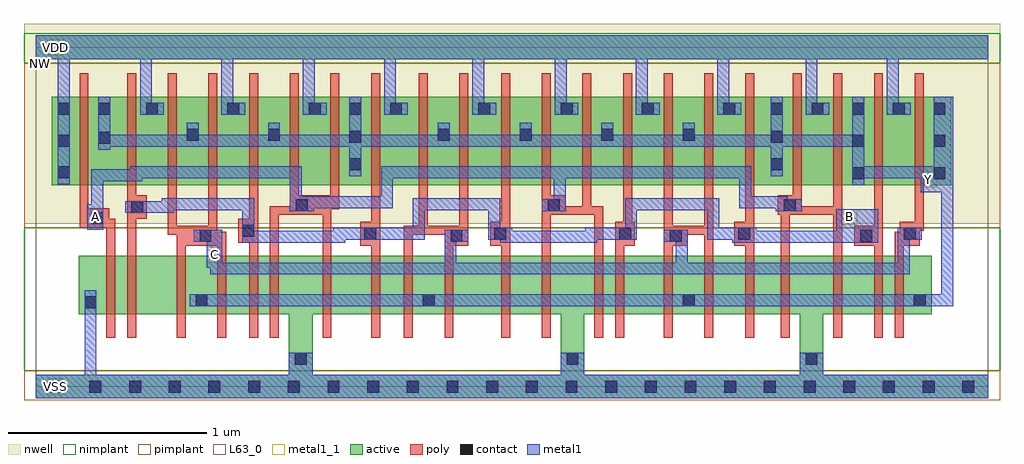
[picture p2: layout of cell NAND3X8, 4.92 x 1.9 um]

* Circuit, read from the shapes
.subckt NAND3X8 A B C NW VDD VSS Y
M1 n1 A VSS VSS nfet w=0.295u l=0.045u
M2 n2 B n1 VSS nfet w=0.295u l=0.045u
M3 Y C n2 VSS nfet w=0.295u l=0.045u
M4 n3 C Y VSS nfet w=0.295u l=0.045u
M5 n4 B n3 VSS nfet w=0.295u l=0.045u
M6 VSS A n4 VSS nfet w=0.295u l=0.045u
M7 n5 A VSS VSS nfet w=0.295u l=0.045u
M8 n6 B n5 VSS nfet w=0.295u l=0.045u
M9 Y C n6 VSS nfet w=0.295u l=0.045u
M10 n7 C Y VSS nfet w=0.295u l=0.045u
M11 n8 B n7 VSS nfet w=0.295u l=0.045u
M12 VSS A n8 VSS nfet w=0.295u l=0.045u
M13 n9 A VSS VSS nfet w=0.295u l=0.045u
M14 n10 B n9 VSS nfet w=0.295u l=0.045u
M15 Y C n10 VSS nfet w=0.295u l=0.045u
M16 n11 C Y VSS nfet w=0.295u l=0.045u
M17 n12 B n11 VSS nfet w=0.295u l=0.045u
M18 VSS A n12 VSS nfet w=0.295u l=0.045u
M19 n13 A VSS VSS nfet w=0.295u l=0.045u
M20 n14 B n13 VSS nfet w=0.295u l=0.045u
M21 Y C n14 VSS nfet w=0.295u l=0.045u
M22 Y A VDD NW pfet w=0.445u l=0.045u m=7
M23 VDD B Y NW pfet w=0.445u l=0.045u m=7
M24 Y C VDD NW pfet w=0.445u l=0.045u m=7
.ends

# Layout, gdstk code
import gdstk
lib = gdstk.Library(unit=1e-6, precision=5e-10)
def R(c, l, rs):  # rectangles x0, y0, x1, y1
    for r in rs: c.add(gdstk.rectangle(r[:2], r[2:], *l))
def A(c, l, x, y, w, h, nx, ny, dx, dy):  # array of equal rectangles
    R(c, l, [(x+i*dx, y+j*dy, x+i*dx+w, y+j*dy+h) for i in range(nx) for j in range(ny)])
def P(c, l, *ps):  # polygons
    for p in ps: c.add(gdstk.Polygon(p, *l))
active = (1, 0)
nwell = (2, 0)
poly = (3, 0)
nimplant = (4, 0)
pimplant = (5, 0)
contact = (6, 0)
metal1 = (7, 0)
metal1_1 = (7, 1)
L63_0 = (63, 0)

nand3x8 = lib.new_cell('NAND3X8')
R(nand3x8, active, [(0,-0.06,4.8,0.06), (0.08,1.015,4.615,1.46), (0,1.65,4.8,1.77)])
P(nand3x8, active, [(4.515,0.66),(0.215,0.66),(0.215,0.365),(1.275,0.365),(1.275,0.06),(1.395,0.06),(1.395,0.365),(2.645,0.365),(2.645,0.06),(2.765,0.06),(2.765,0.365),(3.85,0.365),(3.85,0.06),(3.97,0.06),(3.97,0.365),(4.515,0.365)])
R(nand3x8, nwell, [(-0.06,0.82,4.86,1.83), (0,1.61,0.05,1.71)])
P(nand3x8, poly, [(0.22,1.58),(0.265,1.58),(0.265,0.9),(0.37,0.9),(0.37,0.845),(0.4,0.845),(0.4,0.245),(0.355,0.245),(0.355,0.8),(0.22,0.8)],
  [(0.46,1.58),(0.505,1.58),(0.505,0.965),(0.56,0.965),(0.56,0.845),(0.505,0.845),(0.505,0.245),(0.46,0.245)],
  [(0.665,1.58),(0.71,1.58),(0.71,0.81),(0.87,0.81),(0.87,1.58),(0.915,1.58),(0.915,0.78),(0.96,0.78),(0.96,0.245),(0.915,0.245),(0.915,0.71),(0.755,0.71),(0.755,0.245),(0.71,0.245),(0.71,0.765),(0.665,0.765)],
  [(1.075,1.58),(1.12,1.58),(1.12,0.245),(1.075,0.245),(1.075,0.725),(1.02,0.725),(1.02,0.845),(1.075,0.845)],
  [(1.28,1.58),(1.325,1.58),(1.325,0.965),(1.485,0.965),(1.485,1.58),(1.53,1.58),(1.53,0.895),(1.49,0.895),(1.49,0.245),(1.445,0.245),(1.445,0.865),(1.225,0.865),(1.225,0.245),(1.18,0.245),(1.18,0.91),(1.28,0.91)],
  [(1.69,1.58),(1.735,1.58),(1.735,0.245),(1.69,0.245),(1.69,0.71),(1.635,0.71),(1.635,0.83),(1.69,0.83)],
  [(1.93,1.58),(1.975,1.58),(1.975,0.81),(2.135,0.81),(2.135,1.58),(2.18,1.58),(2.18,0.71),(2.105,0.71),(2.105,0.245),(2.06,0.245),(2.06,0.765),(1.9,0.765),(1.9,0.245),(1.855,0.245),(1.855,0.81),(1.93,0.81)],
  [(2.345,1.58),(2.39,1.58),(2.39,0.245),(2.345,0.245),(2.345,0.71),(2.29,0.71),(2.29,0.83),(2.345,0.83)],
  [(2.55,1.58),(2.595,1.58),(2.595,0.965),(2.67,0.965),(2.67,0.91),(2.755,0.91),(2.755,1.58),(2.8,1.58),(2.8,0.91),(2.86,0.91),(2.86,0.245),(2.815,0.245),(2.815,0.865),(2.595,0.865),(2.595,0.245),(2.55,0.245)],
  [(2.96,1.58),(3.005,1.58),(3.005,0.83),(3.02,0.83),(3.02,0.71),(2.965,0.71),(2.965,0.245),(2.92,0.245),(2.92,0.83),(2.96,0.83)],
  [(3.165,1.58),(3.21,1.58),(3.21,0.81),(3.37,0.81),(3.37,1.58),(3.415,1.58),(3.415,0.245),(3.37,0.245),(3.37,0.765),(3.285,0.765),(3.285,0.71),(3.21,0.71),(3.21,0.245),(3.165,0.245)],
  [(3.575,1.58),(3.62,1.58),(3.62,0.245),(3.575,0.245),(3.575,0.71),(3.52,0.71),(3.52,0.83),(3.575,0.83)],
  [(3.815,1.58),(3.86,1.58),(3.86,0.91),(4.02,0.91),(4.02,1.58),(4.065,1.58),(4.065,0.245),(4.02,0.245),(4.02,0.865),(3.8,0.865),(3.8,0.245),(3.755,0.245),(3.755,0.865),(3.74,0.865),(3.74,0.965),(3.815,0.965)],
  [(4.225,1.58),(4.27,1.58),(4.27,0.245),(4.225,0.245),(4.225,0.71),(4.125,0.71),(4.125,0.81),(4.225,0.81)],
  [(4.43,1.58),(4.475,1.58),(4.475,0.785),(4.455,0.785),(4.455,0.71),(4.375,0.71),(4.375,0.245),(4.33,0.245),(4.33,0.78),(4.355,0.78),(4.355,0.83),(4.43,0.83)])
R(nand3x8, nimplant, [(-0.06,0.08,4.86,0.8), (-0.06,1.63,4.86,1.78)])
R(nand3x8, pimplant, [(-0.06,-0.07,4.86,0.08), (-0.06,0.8,4.86,1.63)])
A(nand3x8, contact, 0.07, -0.03, 0.06, 0.06, 24, 1, 0.2, 0)
A(nand3x8, contact, 0.11, 1.05, 0.06, 0.06, 1, 3, 0, 0.16)
A(nand3x8, contact, 1.58, 1.09, 0.06, 0.06, 1, 3, 0, 0.14)
A(nand3x8, contact, 2.44, 1.24, 0.06, 0.06, 3, 1, 0.41, 0)
A(nand3x8, contact, 0.555, 1.37, 0.06, 0.06, 3, 1, 0.41, 0)
A(nand3x8, contact, 2.645, 1.37, 0.06, 0.06, 3, 1, 0.41, 0)
A(nand3x8, contact, 3.705, 1.37, 0.06, 0.06, 5, 1, 0.205, 0)
R(nand3x8, contact, [(1.305,0.11,1.365,0.17), (2.675,0.11,2.735,0.17), (3.88,0.11,3.94,0.17), (0.245,0.395,0.305,0.455), (0.805,0.405,0.865,0.465), (1.95,0.405,2.01,0.465), (3.26,0.405,3.32,0.465), (4.425,0.405,4.485,0.465), (0.825,0.73,0.885,0.79), (2.09,0.73,2.15,0.79), (3.195,0.73,3.255,0.79), (4.155,0.73,4.215,0.79), (1.655,0.74,1.715,0.8), (2.31,0.74,2.37,0.8), (2.94,0.74,3,0.8), (3.54,0.74,3.6,0.8), (4.375,0.74,4.435,0.8), (1.04,0.755,1.1,0.815), (0.28,0.82,0.34,0.88), (0.48,0.875,0.54,0.935), (1.31,0.885,1.37,0.945), (2.58,0.885,2.64,0.945), (3.77,0.885,3.83,0.945), (4.115,1.045,4.175,1.105), (4.525,1.045,4.585,1.105), (3.705,1.09,3.765,1.15), (4.115,1.21,4.175,1.27), (4.525,1.21,4.585,1.27), (0.315,1.225,0.375,1.285), (3.705,1.23,3.765,1.29), (0.76,1.24,0.82,1.3), (1.17,1.24,1.23,1.3), (2.025,1.24,2.085,1.3), (0.315,1.37,0.375,1.43), (1.785,1.37,1.845,1.43), (2.23,1.37,2.29,1.43)])
R(nand3x8, metal1, [(0.245,0.06,0.305,0.485), (1.275,0.06,1.395,0.17), (2.645,0.06,2.765,0.17), (3.85,0.06,3.97,0.17), (0.11,1.02,0.17,1.65)])
P(nand3x8, metal1, [(0.645,1.43),(0.585,1.43),(0.585,1.65),(0.525,1.65),(0.525,1.37),(0.645,1.37)],
  [(1.055,1.43),(0.995,1.43),(0.995,1.65),(0.935,1.65),(0.935,1.37),(1.055,1.37)],
  [(1.465,1.43),(1.405,1.43),(1.405,1.65),(1.345,1.65),(1.345,1.37),(1.465,1.37)],
  [(1.875,1.43),(1.815,1.43),(1.815,1.65),(1.755,1.65),(1.755,1.37),(1.875,1.37)],
  [(2.32,1.43),(2.26,1.43),(2.26,1.65),(2.2,1.65),(2.2,1.37),(2.32,1.37)],
  [(2.735,1.43),(2.675,1.43),(2.675,1.65),(2.615,1.65),(2.615,1.37),(2.735,1.37)],
  [(3.145,1.43),(3.085,1.43),(3.085,1.65),(3.025,1.65),(3.025,1.37),(3.145,1.37)],
  [(3.555,1.43),(3.495,1.43),(3.495,1.65),(3.435,1.65),(3.435,1.37),(3.555,1.37)],
  [(4,1.43),(3.94,1.43),(3.94,1.65),(3.88,1.65),(3.88,1.37),(4,1.37)],
  [(4.41,1.43),(4.35,1.43),(4.35,1.65),(4.29,1.65),(4.29,1.37),(4.41,1.37)],
  [(0.315,1.46),(0.375,1.46),(0.375,1.27),(0.76,1.27),(0.76,1.33),(0.82,1.33),(0.82,1.27),(1.17,1.27),(1.17,1.33),(1.23,1.33),(1.23,1.27),(1.58,1.27),(1.58,1.46),(1.64,1.46),(1.64,1.27),(2.025,1.27),(2.025,1.33),(2.085,1.33),(2.085,1.27),(2.44,1.27),(2.44,1.33),(2.5,1.33),(2.5,1.27),(2.85,1.27),(2.85,1.33),(2.91,1.33),(2.91,1.27),(3.26,1.27),(3.26,1.33),(3.32,1.33),(3.32,1.27),(3.705,1.27),(3.705,1.46),(3.765,1.46),(3.765,1.27),(4.115,1.27),(4.115,1.46),(4.175,1.46),(4.175,1.11),(4.525,1.11),(4.525,1.46),(4.625,1.46),(4.625,0.405),(0.775,0.405),(0.775,0.465),(4.565,0.465),(4.565,0.98),(4.46,0.98),(4.46,1.05),(4.175,1.05),(4.175,1.015),(4.115,1.015),(4.115,1.21),(3.765,1.21),(3.765,1.06),(3.705,1.06),(3.705,1.21),(1.64,1.21),(1.64,1.06),(1.58,1.06),(1.58,1.21),(0.375,1.21),(0.375,1.195),(0.315,1.195)],
  [(0.475,1.11),(1.34,1.11),(1.34,0.96),(1.74,0.96),(1.74,1.11),(3.605,1.11),(3.605,0.96),(3.79,0.96),(3.79,0.945),(3.86,0.945),(3.86,0.885),(3.73,0.885),(3.73,0.9),(3.545,0.9),(3.545,1.05),(2.67,1.05),(2.67,0.885),(2.55,0.885),(2.55,0.945),(2.61,0.945),(2.61,1.05),(1.8,1.05),(1.8,0.9),(1.4,0.9),(1.4,0.885),(1.28,0.885),(1.28,1.05),(0.535,1.05),(0.535,1.035),(0.34,1.035),(0.34,0.79),(0.26,0.79),(0.26,0.92),(0.28,0.92),(0.28,1.095),(0.475,1.095)],
  [(0.635,0.95),(1.1,0.95),(1.1,0.785),(1.5,0.785),(1.5,0.8),(1.9,0.8),(1.9,0.95),(2.34,0.95),(2.34,0.8),(2.4,0.8),(2.4,0.785),(2.77,0.785),(2.77,0.8),(2.97,0.8),(2.97,0.95),(3.445,0.95),(3.445,0.8),(3.63,0.8),(3.63,0.785),(4.035,0.785),(4.035,0.895),(4.245,0.895),(4.245,0.725),(3.51,0.725),(3.51,0.74),(3.385,0.74),(3.385,0.89),(3.03,0.89),(3.03,0.74),(2.83,0.74),(2.83,0.725),(2.34,0.725),(2.34,0.74),(2.28,0.74),(2.28,0.89),(1.96,0.89),(1.96,0.74),(1.56,0.74),(1.56,0.725),(1.04,0.725),(1.04,0.89),(0.695,0.89),(0.695,0.875),(0.45,0.875),(0.45,0.935),(0.635,0.935)],
  [(0.795,0.79),(0.94,0.79),(0.94,0.625),(2.06,0.625),(2.06,0.79),(2.18,0.79),(2.18,0.73),(2.12,0.73),(2.12,0.625),(3.225,0.625),(3.225,0.73),(3.165,0.73),(3.165,0.79),(3.285,0.79),(3.285,0.625),(4.345,0.625),(4.345,0.8),(4.465,0.8),(4.465,0.74),(4.405,0.74),(4.405,0.565),(0.88,0.565),(0.88,0.6),(0.86,0.6),(0.86,0.73),(0.795,0.73)])
R(nand3x8, metal1_1, [(0.06,-0.04,0.14,0.04), (0.86,0.625,0.94,0.705), (0.26,0.815,0.34,0.895), (4.06,0.815,4.14,0.895), (4.46,1.005,4.54,1.085), (0.06,1.67,0.14,1.75)])
R(nand3x8, L63_0, [(0,0,4.8,1.71)])
nand3x8.add(gdstk.FlexPath([(0,0),(4.8,0)], 0.12, ends="flush", simple_path=True, layer=7, datatype=0))  # metal1
nand3x8.add(gdstk.FlexPath([(0,1.71),(4.8,1.71)], 0.12, ends="flush", simple_path=True, layer=7, datatype=0))  # metal1
nand3x8.add(gdstk.Label('Y', (4.5,1.045), layer=7, texttype=1))
nand3x8.add(gdstk.Label('A', (0.3,0.855), layer=7, texttype=1))
nand3x8.add(gdstk.Label('B', (4.1,0.855), layer=7, texttype=1))
nand3x8.add(gdstk.Label('C', (0.9,0.665), layer=7, texttype=1))
nand3x8.add(gdstk.Label('VDD', (0.1,1.71), layer=7, texttype=1))
nand3x8.add(gdstk.Label('VSS', (0.1,0), layer=7, texttype=1))
nand3x8.add(gdstk.Label('VSS', (0.1,0), layer=7, texttype=1))
nand3x8.add(gdstk.Label('VDD', (0.1,1.71), layer=7, texttype=1))
nand3x8.add(gdstk.Label('C', (0.9,0.665), layer=7, texttype=1))
nand3x8.add(gdstk.Label('B', (4.1,0.855), layer=7, texttype=1))
nand3x8.add(gdstk.Label('A', (0.3,0.855), layer=7, texttype=1))
nand3x8.add(gdstk.Label('Y', (4.5,1.045), layer=7, texttype=1))
nand3x8.add(gdstk.Label('NAND3X8', (0,0), layer=63, texttype=0))
nand3x8.add(gdstk.Label('NW', (0.025,1.66), layer=2, texttype=0))
nand3x8.add(gdstk.Label('NW', (0.025,1.63), layer=2, texttype=0))

lib.write_gds('NAND3X8.gds')
